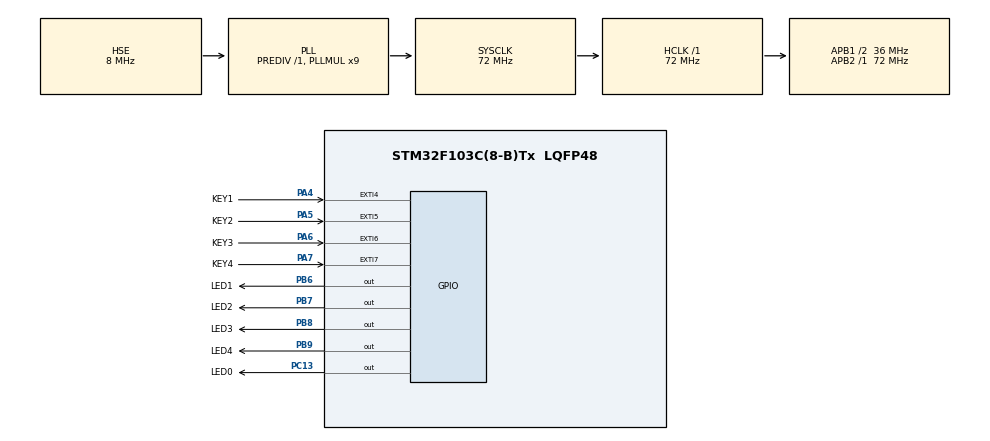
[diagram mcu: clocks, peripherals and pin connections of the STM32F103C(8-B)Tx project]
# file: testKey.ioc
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Mcu.Family=STM32F1
Mcu.Name=STM32F103C(8-B)Tx
Mcu.Package=LQFP48
NVIC.EXTI4_IRQn=true\:2\:0\:true\:false\:true\:true\:true
NVIC.EXTI9_5_IRQn=true\:1\:0\:true\:false\:true\:true\:true
NVIC.PriorityGroup=NVIC_PRIORITYGROUP_4
PA13.Mode=Serial_Wire
PA13.Signal=SYS_JTMS-SWDIO
PA14.Mode=Serial_Wire
PA14.Signal=SYS_JTCK-SWCLK
PA4.GPIO_Label=KEY1
PA4.GPIO_ModeDefaultEXTI=GPIO_MODE_IT_RISING
PA4.GPIO_PuPd=GPIO_PULLDOWN
PA4.Signal=GPXTI4
PA5.GPIO_Label=KEY2
PA5.GPIO_PuPd=GPIO_PULLDOWN
PA5.Signal=GPXTI5
PA6.GPIO_Label=KEY3
PA6.GPIO_PuPd=GPIO_PULLDOWN
PA6.Signal=GPXTI6
PA7.GPIO_Label=KEY4
PA7.GPIO_PuPd=GPIO_PULLDOWN
PA7.Signal=GPXTI7
PB6.GPIO_Label=LED1
PB6.PinState=GPIO_PIN_SET
PB6.Signal=GPIO_Output
PB7.GPIO_Label=LED2
PB7.PinState=GPIO_PIN_SET
PB7.Signal=GPIO_Output
PB8.GPIO_Label=LED3
PB8.GPIO_Speed=GPIO_SPEED_FREQ_LOW
PB8.PinState=GPIO_PIN_SET
PB8.Signal=GPIO_Output
PB9.GPIO_Label=LED4
PB9.PinState=GPIO_PIN_SET
PB9.Signal=GPIO_Output
PC13-TAMPER-RTC.GPIO_Label=LED0
PC13-TAMPER-RTC.PinState=GPIO_PIN_SET
PC13-TAMPER-RTC.Signal=GPIO_Output
PD0-OSC_IN.Mode=HSE-External-Oscillator
PD0-OSC_IN.Signal=RCC_OSC_IN
PD1-OSC_OUT.Mode=HSE-External-Oscillator
PD1-OSC_OUT.Signal=RCC_OSC_OUT
ProjectManager.HeapSize=0x200
ProjectManager.StackSize=0x400
ProjectManager.TargetToolchain=STM32CubeIDE
RCC.AHBFreq_Value=72000000
RCC.APB1CLKDivider=RCC_HCLK_DIV2
RCC.APB1Freq_Value=36000000
RCC.APB1TimFreq_Value=72000000
RCC.APB2Freq_Value=72000000
RCC.APB2TimFreq_Value=72000000
RCC.HCLKFreq_Value=72000000
RCC.PLLMUL=RCC_PLL_MUL9
RCC.PLLSourceVirtual=RCC_PLLSOURCE_HSE
RCC.SYSCLKFreq_VALUE=72000000
RCC.SYSCLKSource=RCC_SYSCLKSOURCE_PLLCLK
RCC.USBFreq_Value=72000000
board=custom

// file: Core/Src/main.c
/* USER CODE BEGIN Header */
/**
  ******************************************************************************
  * @file           : main.c
  * @brief          : Main program body
  ******************************************************************************
  * @attention
  *
  * <h2><center>&copy; Copyright (c) 2020 STMicroelectronics.
  * All rights reserved.</center></h2>
  *
  * This software component is licensed by ST under BSD 3-Clause license,
  * the "License"; You may not use this file except in compliance with the
  * License. You may obtain a copy of the License at:
  *                        opensource.org/licenses/BSD-3-Clause
  *
  ******************************************************************************
  */
/* USER CODE END Header */
#include "main.h"
#include "gpio.h"

void SystemClock_Config(void);

/* USER CODE BEGIN 0 */
uint8_t led = 1;
/* USER CODE END 0 */

int main(void)
{

  /* MCU Configuration--------------------------------------------------------*/

  /* Reset of all peripherals, Initializes the Flash interface and the Systick. */
  HAL_Init();

  /* Configure the system clock */
  SystemClock_Config();

  /* Initialize all configured peripherals */
  MX_GPIO_Init();

  /* Infinite loop */
  while (1)
  {

    /* USER CODE BEGIN 3 */
//	  HAL_GPIO_TogglePin(LED0_GPIO_Port, LED0_Pin);
//	  HAL_Delay(500);
	  switch(led)
	  {
	  case 1:
	  	  {
	  		  HAL_GPIO_TogglePin(LED0_GPIO_Port, LED0_Pin);
	  		  HAL_Delay(1000);
	  	  }
	  	  break;
	  case 2:
	  	  {
	  		  HAL_GPIO_TogglePin(LED0_GPIO_Port, LED0_Pin);
	  		  HAL_Delay(500);
	  	  }
	  	  break;
	  case 3:
	  	  {
	  		  HAL_GPIO_TogglePin(LED0_GPIO_Port, LED0_Pin);
	  		  HAL_Delay(300);
	  	  }
	  	  break;
	  case 4:
	  	  {
	  		  HAL_GPIO_TogglePin(LED0_GPIO_Port, LED0_Pin);
	  		  HAL_Delay(50);
	  	  }
	  	  break;
	  }
  }
  /* USER CODE END 3 */
}

void SystemClock_Config(void)
{
  RCC_OscInitTypeDef RCC_OscInitStruct = {0};
  RCC_ClkInitTypeDef RCC_ClkInitStruct = {0};

  /** Initializes the RCC Oscillators according to the specified parameters
  * in the RCC_OscInitTypeDef structure.
  */
  RCC_OscInitStruct.OscillatorType = RCC_OSCILLATORTYPE_HSE;
  RCC_OscInitStruct.HSEState = RCC_HSE_ON;
  RCC_OscInitStruct.HSEPredivValue = RCC_HSE_PREDIV_DIV1;
  RCC_OscInitStruct.HSIState = RCC_HSI_ON;
  RCC_OscInitStruct.PLL.PLLState = RCC_PLL_ON;
  RCC_OscInitStruct.PLL.PLLSource = RCC_PLLSOURCE_HSE;
  RCC_OscInitStruct.PLL.PLLMUL = RCC_PLL_MUL9;
  if (HAL_RCC_OscConfig(&RCC_OscInitStruct) != HAL_OK)
  {
    Error_Handler();
  }
  /** Initializes the CPU, AHB and APB buses clocks
  */
  RCC_ClkInitStruct.ClockType = RCC_CLOCKTYPE_HCLK|RCC_CLOCKTYPE_SYSCLK
                              |RCC_CLOCKTYPE_PCLK1|RCC_CLOCKTYPE_PCLK2;
  RCC_ClkInitStruct.SYSCLKSource = RCC_SYSCLKSOURCE_PLLCLK;
  RCC_ClkInitStruct.AHBCLKDivider = RCC_SYSCLK_DIV1;
  RCC_ClkInitStruct.APB1CLKDivider = RCC_HCLK_DIV2;
  RCC_ClkInitStruct.APB2CLKDivider = RCC_HCLK_DIV1;

  if (HAL_RCC_ClockConfig(&RCC_ClkInitStruct, FLASH_LATENCY_2) != HAL_OK)
  {
    Error_Handler();
  }
}

/* USER CODE BEGIN 4 */
void HAL_GPIO_EXTI_Callback(uint16_t GPIO_Pin)
{
	switch(GPIO_Pin)
	{
	case KEY1_Pin:
		if(HAL_GPIO_ReadPin(KEY1_GPIO_Port, KEY1_Pin) == GPIO_PIN_SET){
//			HAL_GPIO_TogglePin(LED1_GPIO_Port, LED1_Pin);
			led = 1;
		}
		break;
	case KEY2_Pin:
		if(HAL_GPIO_ReadPin(KEY2_GPIO_Port, KEY2_Pin) == GPIO_PIN_SET){
//			HAL_GPIO_TogglePin(LED2_GPIO_Port, LED2_Pin);
			led = 2;
		}
		break;
	case KEY3_Pin:
		if(HAL_GPIO_ReadPin(KEY3_GPIO_Port, KEY3_Pin) == GPIO_PIN_SET){
//			HAL_GPIO_TogglePin(LED3_GPIO_Port, LED3_Pin);
			led = 3;
		}
		break;
	case KEY4_Pin:
		if(HAL_GPIO_ReadPin(KEY4_GPIO_Port, KEY4_Pin) == GPIO_PIN_SET){
//			HAL_GPIO_TogglePin(LED4_GPIO_Port, LED4_Pin);
			led = 4;
		}
		break;
	}
}
/* USER CODE END 4 */

void Error_Handler(void)
{
}

/************************ (C) COPYRIGHT STMicroelectronics *****END OF FILE****/
